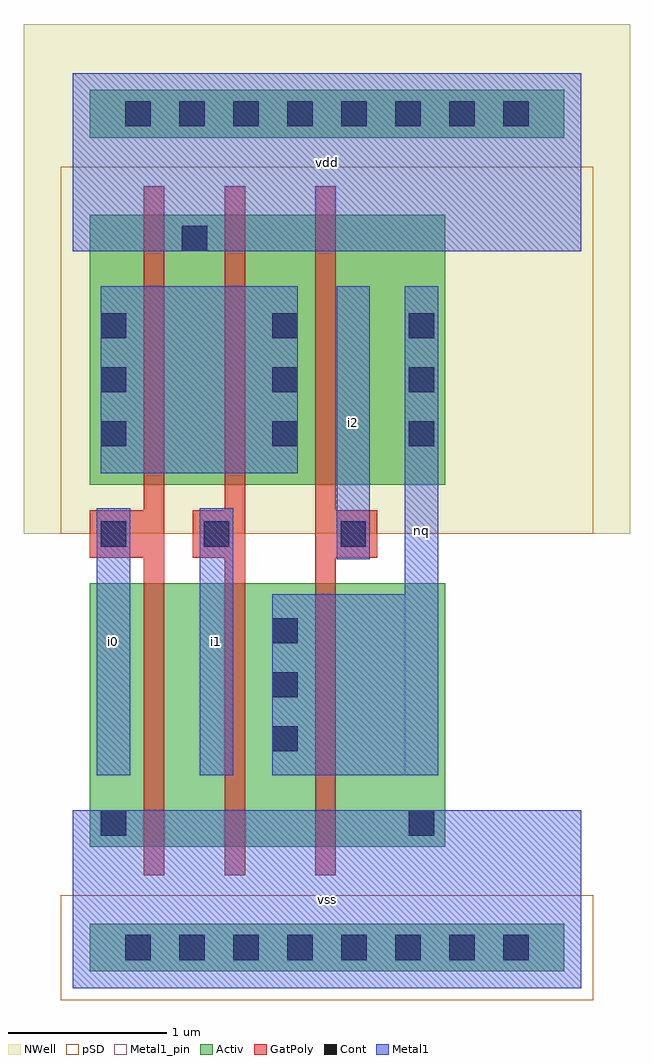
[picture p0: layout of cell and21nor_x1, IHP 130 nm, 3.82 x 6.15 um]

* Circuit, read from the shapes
.subckt and21nor_x1 i0 i1 i2 nq vdd vss
XM1 n1 i0 vss vss sg13_lv_nmos w=1.66u l=0.13u
XM2 nq i1 n1 vss sg13_lv_nmos w=1.66u l=0.13u
XM3 vss i2 nq vss sg13_lv_nmos w=1.66u l=0.13u
XM4 vdd i0 n2 vdd sg13_lv_pmos w=1.7u l=0.13u
XM5 n2 i1 vdd vdd sg13_lv_pmos w=1.7u l=0.13u
XM6 nq i2 n2 vdd sg13_lv_pmos w=1.7u l=0.13u
.ends

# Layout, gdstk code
import gdstk
lib = gdstk.Library(unit=1e-6, precision=1e-09)
def R(c, l, rs):  # rectangles x0, y0, x1, y1
    for r in rs: c.add(gdstk.rectangle(r[:2], r[2:], *l))
def A(c, l, x, y, w, h, nx, ny, dx, dy):  # array of equal rectangles
    R(c, l, [(x+i*dx, y+j*dy, x+i*dx+w, y+j*dy+h) for i in range(nx) for j in range(ny)])
def P(c, l, *ps):  # polygons
    for p in ps: c.add(gdstk.Polygon(p, *l))
Activ = (1, 0)
GatPoly = (5, 0)
Cont = (6, 0)
Metal1 = (8, 0)
Metal1_pin = (8, 2)
pSD = (14, 0)
NWell = (31, 0)

and21nor_x1 = lib.new_cell('and21nor_x1')
R(and21nor_x1, Activ, [(0.105,0.105,3.095,0.405), (0.105,0.89,2.345,2.55), (0.105,3.17,2.345,4.87), (0.105,5.355,3.095,5.655)])
P(and21nor_x1, GatPoly, [(0.445,0.71),(0.445,2.71),(0.105,2.71),(0.105,3.01),(0.445,3.01),(0.445,5.05),(0.575,5.05),(0.575,0.71)],
  [(0.955,0.71),(0.955,2.71),(0.755,2.71),(0.755,3.01),(0.955,3.01),(0.955,5.05),(1.085,5.05),(1.085,0.71)],
  [(1.525,0.71),(1.525,5.05),(1.655,5.05),(1.655,3.01),(1.915,3.01),(1.915,2.71),(1.655,2.71),(1.655,0.71)])
A(and21nor_x1, Cont, 0.33, 0.175, 0.16, 0.16, 8, 2, 0.34, 5.25)
A(and21nor_x1, Cont, 1.255, 1.49, 0.16, 0.16, 1, 3, 0, 0.34)
A(and21nor_x1, Cont, 0.175, 3.41, 0.16, 0.16, 1, 3, 0, 0.34)
A(and21nor_x1, Cont, 1.255, 3.41, 0.16, 0.16, 1, 3, 0, 0.34)
A(and21nor_x1, Cont, 2.115, 3.41, 0.16, 0.16, 1, 3, 0, 0.34)
R(and21nor_x1, Cont, [(0.175,0.96,0.335,1.12), (2.115,0.96,2.275,1.12), (0.175,2.78,0.335,2.94), (0.825,2.78,0.985,2.94), (1.685,2.78,1.845,2.94), (0.685,4.64,0.845,4.8)])
R(and21nor_x1, Metal1, [(0,0,3.2,1.12), (0.15,1.34,0.36,3.02), (0.8,1.34,1.01,3.02), (1.66,2.7,1.87,4.42), (0.175,3.24,1.415,4.42), (0,4.64,3.2,5.76)])
P(and21nor_x1, Metal1, [(1.255,1.34),(1.255,2.48),(2.09,2.48),(2.09,4.42),(2.3,4.42),(2.3,1.34)])
R(and21nor_x1, Metal1_pin, [(0,0,3.2,1.12), (0.15,1.34,0.36,3.02), (0.8,1.34,1.01,3.02), (2.09,1.34,2.3,4.42), (1.66,2.7,1.87,4.42), (0,4.64,3.2,5.76)])
R(and21nor_x1, pSD, [(-0.075,-0.075,3.275,0.585), (-0.075,2.86,3.275,5.17)])
R(and21nor_x1, NWell, [(-0.31,2.86,3.51,6.07)])
and21nor_x1.add(gdstk.Label('vss', (1.6,0.56), layer=8, texttype=2))
and21nor_x1.add(gdstk.Label('vdd', (1.6,5.2), layer=8, texttype=2))
and21nor_x1.add(gdstk.Label('i0', (0.255,2.18), layer=8, texttype=2))
and21nor_x1.add(gdstk.Label('nq', (2.195,2.88), layer=8, texttype=2))
and21nor_x1.add(gdstk.Label('i1', (0.905,2.18), layer=8, texttype=2))
and21nor_x1.add(gdstk.Label('i2', (1.765,3.56), layer=8, texttype=2))

lib.write_gds('and21nor_x1.gds')
